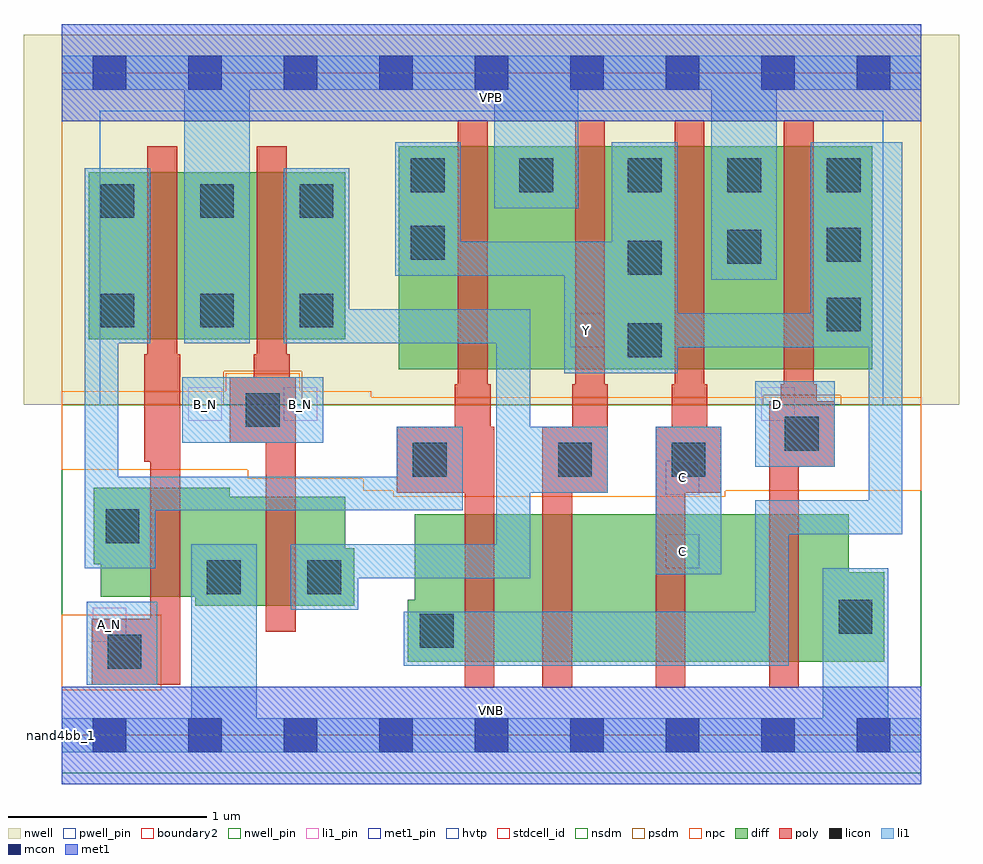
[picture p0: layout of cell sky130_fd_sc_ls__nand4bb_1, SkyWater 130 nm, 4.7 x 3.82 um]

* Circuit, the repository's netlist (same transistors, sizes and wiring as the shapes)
* Copyright 2020 The SkyWater PDK Authors
*
* Licensed under the Apache License, Version 2.0 (the "License");
* you may not use this file except in compliance with the License.
* You may obtain a copy of the License at
*
*     https://www.apache.org/licenses/LICENSE-2.0
*
* Unless required by applicable law or agreed to in writing, software
* distributed under the License is distributed on an "AS IS" BASIS,
* WITHOUT WARRANTIES OR CONDITIONS OF ANY KIND, either express or implied.
* See the License for the specific language governing permissions and
* limitations under the License.
*
* SPDX-License-Identifier: Apache-2.0

.SUBCKT sky130_fd_sc_ls__nand4bb_1 A_N B_N C D VGND VNB VPB VPWR Y
*.PININFO A_N:I B_N:I C:I D:I VGND:I VNB:I VPB:I VPWR:I Y:O
MMP0 Y A VPWR VPB sky130_fd_pr__pfet_01v8_hvt m=1 w=1.12U l=0.15U mult=1 sa=0.265
+ sb=0.265 sd=0.28 area=0.063 perim=1.14
MMP1 Y B VPWR VPB sky130_fd_pr__pfet_01v8_hvt m=1 w=1.12U l=0.15U mult=1 sa=0.265
+ sb=0.265 sd=0.28 area=0.063 perim=1.14
MMP2 Y C VPWR VPB sky130_fd_pr__pfet_01v8_hvt m=1 w=1.12U l=0.15U mult=1 sa=0.265
+ sb=0.265 sd=0.28 area=0.063 perim=1.14
MMP3 Y D VPWR VPB sky130_fd_pr__pfet_01v8_hvt m=1 w=1.12U l=0.15U mult=1 sa=0.265
+ sb=0.265 sd=0.28 area=0.063 perim=1.14
MMIP0 A A_N VPWR VPB sky130_fd_pr__pfet_01v8_hvt m=1 w=0.84U l=0.15U mult=1 sa=0.265
+ sb=0.265 sd=0.28 area=0.063 perim=1.14
MMIP1 B B_N VPWR VPB sky130_fd_pr__pfet_01v8_hvt m=1 w=0.84U l=0.15U mult=1 sa=0.265
+ sb=0.265 sd=0.28 area=0.063 perim=1.14
MMN0 Y A sndA VNB sky130_fd_pr__nfet_01v8 m=1 w=0.74U l=0.15U mult=1 sa=0.265 sb=0.265
+ sd=0.28 area=0.063 perim=1.14
MMN1 sndA B sndB VNB sky130_fd_pr__nfet_01v8 m=1 w=0.74U l=0.15U mult=1 sa=0.265
+ sb=0.265 sd=0.28 area=0.063 perim=1.14
MMN2 sndB C sndC VNB sky130_fd_pr__nfet_01v8 m=1 w=0.74U l=0.15U mult=1 sa=0.265
+ sb=0.265 sd=0.28 area=0.063 perim=1.14
MMN3 sndC D VGND VNB sky130_fd_pr__nfet_01v8 m=1 w=0.74U l=0.15U mult=1 sa=0.265
+ sb=0.265 sd=0.28 area=0.063 perim=1.14
MMIN0 A A_N VGND VNB sky130_fd_pr__nfet_01v8 m=1 w=0.55U l=0.15U mult=1 sa=0.265
+ sb=0.265 sd=0.28 area=0.063 perim=1.14
MMIN1 B B_N VGND VNB sky130_fd_pr__nfet_01v8 m=1 w=0.55U l=0.15U mult=1 sa=0.265
+ sb=0.265 sd=0.28 area=0.063 perim=1.14
.ENDS sky130_fd_sc_ls__nand4bb_1

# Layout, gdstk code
import gdstk
lib = gdstk.Library(unit=1e-6, precision=1e-09)
def R(c, l, rs):  # rectangles x0, y0, x1, y1
    for r in rs: c.add(gdstk.rectangle(r[:2], r[2:], *l))
def A(c, l, x, y, w, h, nx, ny, dx, dy):  # array of equal rectangles
    R(c, l, [(x+i*dx, y+j*dy, x+i*dx+w, y+j*dy+h) for i in range(nx) for j in range(ny)])
def P(c, l, *ps):  # polygons
    for p in ps: c.add(gdstk.Polygon(p, *l))
nwell_pin = (64, 16)
nwell = (64, 20)
diff = (65, 20)
poly = (66, 20)
licon = (66, 44)
li1_pin = (67, 16)
li1 = (67, 20)
mcon = (67, 44)
met1_pin = (68, 16)
met1 = (68, 20)
hvtp = (78, 44)
stdcell_id = (81, 4)
nsdm = (93, 44)
psdm = (94, 20)
npc = (95, 20)
pwell_pin = (122, 16)
boundary2 = (236, 0)

sky130_fd_sc_ls__nand4bb = lib.new_cell('sky130_fd_sc_ls__nand4bb_1')
R(sky130_fd_sc_ls__nand4bb, nwell_pin, [(0,3.085,4.32,3.33)])
R(sky130_fd_sc_ls__nand4bb, nwell, [(-0.19,1.66,4.51,3.52)])
R(sky130_fd_sc_ls__nand4bb, diff, [(1.695,1.84,4.075,2.96), (0.135,1.99,1.425,2.83)])
P(sky130_fd_sc_ls__nand4bb, diff, [(1.47,0.94),(1.425,0.94),(1.425,1.2),(0.845,1.2),(0.845,1.245),(0.16,1.245),(0.16,0.86),(0.195,0.86),(0.195,0.695),(0.67,0.695),(0.67,0.65),(1.47,0.65)],
  [(4.135,0.82),(3.955,0.82),(3.955,1.11),(1.775,1.11),(1.775,0.68),(1.74,0.68),(1.74,0.37),(4.135,0.37)])
P(sky130_fd_sc_ls__nand4bb, poly, [(3.885,1.68),(3.795,1.68),(3.795,1.765),(3.78,1.765),(3.78,3.09),(3.63,3.09),(3.63,1.765),(3.615,1.765),(3.615,1.68),(3.555,1.68),(3.555,0.24),(3.705,0.24),(3.705,1.35),(3.885,1.35)],
  [(3.315,1.55),(3.245,1.55),(3.245,1.765),(3.23,1.765),(3.23,3.09),(3.08,3.09),(3.08,1.765),(3.065,1.765),(3.065,1.55),(2.985,1.55),(2.985,0.24),(3.135,0.24),(3.135,1.22),(3.315,1.22)],
  [(2.745,1.765),(2.73,1.765),(2.73,3.09),(2.58,3.09),(2.58,1.765),(2.565,1.765),(2.565,1.55),(2.415,1.55),(2.415,0.24),(2.565,0.24),(2.565,1.22),(2.745,1.22)],
  [(2.175,1.55),(2.155,1.55),(2.155,1.765),(2.14,1.765),(2.14,3.09),(1.99,3.09),(1.99,1.765),(1.975,1.765),(1.975,1.55),(1.685,1.55),(1.685,1.22),(2.025,1.22),(2.025,0.24),(2.175,0.24)],
  [(1.175,1.8),(1.145,1.8),(1.145,1.915),(1.13,1.915),(1.13,2.96),(0.98,2.96),(0.98,1.915),(0.965,1.915),(0.965,1.8),(0.845,1.8),(0.845,1.47),(1.025,1.47),(1.025,0.52),(1.175,0.52)],
  [(0.595,1.915),(0.58,1.915),(0.58,2.96),(0.43,2.96),(0.43,1.915),(0.415,1.915),(0.415,1.375),(0.445,1.375),(0.445,0.585),(0.15,0.585),(0.15,0.255),(0.595,0.255)])
A(sky130_fd_sc_ls__nand4bb, licon, 3.845, 2.03, 0.17, 0.17, 1, 3, 0, 0.35)
A(sky130_fd_sc_ls__nand4bb, licon, 0.195, 2.05, 0.17, 0.17, 3, 2, 0.5, 0.55)
A(sky130_fd_sc_ls__nand4bb, licon, 1.755, 2.73, 0.17, 0.17, 3, 1, 0.545, 0)
R(sky130_fd_sc_ls__nand4bb, licon, [(0.23,0.335,0.4,0.505), (1.8,0.44,1.97,0.61), (3.905,0.51,4.075,0.68), (0.73,0.71,0.9,0.88), (1.235,0.71,1.405,0.88), (0.22,0.965,0.39,1.135), (1.765,1.3,1.935,1.47), (2.495,1.3,2.665,1.47), (3.065,1.3,3.235,1.47), (3.635,1.43,3.805,1.6), (0.925,1.55,1.095,1.72), (2.845,1.9,3.015,2.07), (2.845,2.315,3.015,2.485), (3.345,2.37,3.515,2.54), (1.755,2.39,1.925,2.56), (3.345,2.73,3.515,2.9)])
R(sky130_fd_sc_ls__nand4bb, li1_pin, [(0.155,0.47,0.325,0.64), (3.035,0.84,3.205,1.01), (3.035,1.21,3.205,1.38), (0.635,1.58,0.805,1.75), (1.115,1.58,1.285,1.75), (3.515,1.58,3.685,1.75), (2.555,1.95,2.725,2.12)])
R(sky130_fd_sc_ls__nand4bb, li1, [(0.125,0.255,0.48,0.67), (2.985,0.81,3.315,1.55), (3.485,1.35,3.885,1.78), (0.605,1.47,1.315,1.8)])
P(sky130_fd_sc_ls__nand4bb, li1, [(0.615,1.97),(0.615,3.245),(0,3.245),(0,3.415),(4.32,3.415),(4.32,3.245),(3.595,3.245),(3.595,2.29),(3.265,2.29),(3.265,3.245),(2.595,3.245),(2.595,2.65),(2.175,2.65),(2.175,3.245),(0.945,3.245),(0.945,1.97)],
  [(3.825,0.085),(3.825,0.84),(4.155,0.84),(4.155,0.085),(4.32,0.085),(4.32,-0.085),(0,-0.085),(0,0.085),(0.65,0.085),(0.65,0.96),(0.98,0.96),(0.98,0.085)],
  [(2.525,2.31),(1.675,2.31),(1.675,2.98),(2.005,2.98),(2.005,2.48),(2.765,2.48),(2.765,2.98),(3.095,2.98),(3.095,2.12),(3.765,2.12),(3.765,2.98),(4.225,2.98),(4.225,1.01),(3.655,1.01),(3.655,0.35),(1.72,0.35),(1.72,0.62),(3.485,0.62),(3.485,1.18),(4.055,1.18),(4.055,1.95),(3.095,1.95),(3.095,1.82),(2.525,1.82)],
  [(1.15,0.63),(1.15,0.96),(2.185,0.96),(2.185,1.97),(1.115,1.97),(1.115,2.85),(1.445,2.85),(1.445,2.14),(2.355,2.14),(2.355,1.55),(2.745,1.55),(2.745,1.22),(2.355,1.22),(2.355,0.79),(1.49,0.79),(1.49,0.63)],
  [(0.115,0.84),(0.115,2.85),(0.445,2.85),(0.445,1.97),(0.285,1.97),(0.285,1.3),(1.685,1.3),(1.685,1.55),(2.015,1.55),(2.015,1.13),(0.47,1.13),(0.47,0.84)])
A(sky130_fd_sc_ls__nand4bb, mcon, 0.155, -0.085, 0.17, 0.17, 9, 2, 0.48, 3.33)
R(sky130_fd_sc_ls__nand4bb, met1_pin, [(0,0,4.32,0.245), (0,3.085,4.32,3.33)])
R(sky130_fd_sc_ls__nand4bb, met1, [(0,-0.245,4.32,0.245), (0,3.085,4.32,3.575)])
R(sky130_fd_sc_ls__nand4bb, hvtp, [(0.19,1.66,4.13,3.14)])
R(sky130_fd_sc_ls__nand4bb, stdcell_id, [(0,0,4.32,3.33)])
R(sky130_fd_sc_ls__nand4bb, nsdm, [(0,-0.19,4.32,1.66)])
P(sky130_fd_sc_ls__nand4bb, psdm, [(4.32,3.52),(0,3.52),(0,1.66),(0.815,1.66),(0.815,1.83),(1.205,1.83),(1.205,1.66),(3.525,1.66),(3.525,1.71),(3.915,1.71),(3.915,1.66),(4.32,1.66)])
R(sky130_fd_sc_ls__nand4bb, npc, [(0,0.225,0.5,0.605)])
P(sky130_fd_sc_ls__nand4bb, npc, [(4.32,1.7),(1.555,1.7),(1.555,1.73),(1.195,1.73),(1.195,1.82),(0.825,1.82),(0.825,1.73),(0,1.73),(0,1.335),(0.935,1.335),(0.935,1.29),(1.515,1.29),(1.515,1.23),(1.665,1.23),(1.665,1.2),(3.335,1.2),(3.335,1.23),(4.32,1.23)])
R(sky130_fd_sc_ls__nand4bb, pwell_pin, [(0,0,4.32,0.245)])
R(sky130_fd_sc_ls__nand4bb, boundary2, [(0,0,4.32,3.33)])
sky130_fd_sc_ls__nand4bb.add(gdstk.Label('nand4bb_1', (0,0), layer=83, texttype=44))
sky130_fd_sc_ls__nand4bb.add(gdstk.Label('VNB', (2.16,0.123), layer=64, texttype=59))
sky130_fd_sc_ls__nand4bb.add(gdstk.Label('VPB', (2.16,3.208), layer=64, texttype=5))
sky130_fd_sc_ls__nand4bb.add(gdstk.Label('VPWR', (2.16,3.208), layer=68, texttype=5))
sky130_fd_sc_ls__nand4bb.add(gdstk.Label('VGND', (2.16,0.123), layer=68, texttype=5))
sky130_fd_sc_ls__nand4bb.add(gdstk.Label('B_N', (0.72,1.665), layer=67, texttype=5))
sky130_fd_sc_ls__nand4bb.add(gdstk.Label('B_N', (1.2,1.665), layer=67, texttype=5))
sky130_fd_sc_ls__nand4bb.add(gdstk.Label('A_N', (0.24,0.555), layer=67, texttype=5))
sky130_fd_sc_ls__nand4bb.add(gdstk.Label('D', (3.6,1.665), layer=67, texttype=5))
sky130_fd_sc_ls__nand4bb.add(gdstk.Label('Y', (2.64,2.035), layer=67, texttype=5))
sky130_fd_sc_ls__nand4bb.add(gdstk.Label('C', (3.12,0.925), layer=67, texttype=5))
sky130_fd_sc_ls__nand4bb.add(gdstk.Label('C', (3.12,1.295), layer=67, texttype=5))

lib.write_gds('sky130_fd_sc_ls__nand4bb_1.gds')
